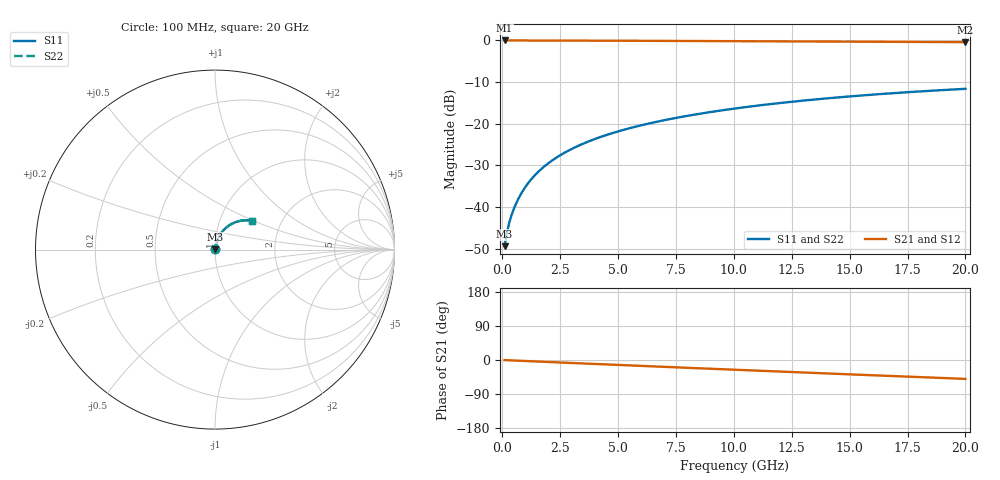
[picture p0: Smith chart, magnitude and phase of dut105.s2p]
! Touchstone file exported from HFSS 2026.1.0
!  File:  C:/ffzhzh/LocalFiles/Ansys_Project_Files/temp_train_BSMRDL_105_1782985764_42984.aedt
!  Generated:  05:50:44 PM Jul  2, 2026
!  Design:  BSMRDL
!  Project:  temp_train_BSMRDL_105_1782985764_42984
! Variables:
!  h_bsmrdl = 4.2um
!  h_ox = 20um
!  h_rdl = 5um
!  h_sub = 80um
!  h_tmrdl = 5um
!  h_tsv = 80um
!  h_via = 3um
!  l_bsmrdl = 830.67um
!  l_sub = 1230.67um
!  l_tmrdl = 200um
!  m_sub = 200um
!  pitch = 44.9um
!  r_tsv = 6um
!  s_tmrdl = 10um
!  w_bsmrdl = 29.9um
!  w_sub = 500um
!  w_tmrdl = 12um
!  x_tsv_center1 = 206um
!  x_tsv_center2 = 1066.57um
!  x_tsv_center3 = 1278.57um
!  x_tsv_center4 = 2139.14um
!  x_tsv_center5 = 2351.14um
!  x_tsv_center6 = 3211.71um
# GHz S MA R 50.000000
! Terminal data exported
! Port[1] = BSM_RDL1_1_T1
! Port[2] = BSM_RDL1_1_T2
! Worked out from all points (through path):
!   200 points, 100 MHz to 20 GHz, reference 50 ohm
!   highest |S21| = -0.02 dB at 100 MHz (marker M1); lowest = -0.4 dB at 20 GHz (marker M2)
!   group delay of S21, straight-line fit = 6.91 ps
!   lowest |S11| = -49.4 dB at 100 MHz (marker M3), VSWR 1.01, Z = 50.3 + j0.209 ohm
!   |S11| at or under -10 dB: start of sweep to end of sweep
!   |S22| runs from -49.4 to -11.6 dB; largest |S21 - S12| = 1.3e-14
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0.1  0.003376 38.0  0.9973 -0.3  0.9973 -0.3  0.003376 38.0
! Gamma 0 0 0 0
! Port Impedance 50 0 50 0
0.2  0.004922 52.5  0.997 -0.6  0.997 -0.6  0.004922 52.5
0.3  0.006459 59.4  0.9968 -0.8  0.9968 -0.8  0.006459 59.4
0.4  0.007974 63.9  0.9966 -1.1  0.9966 -1.1  0.007974 63.9
0.5  0.0095 67.2  0.9965 -1.3  0.9965 -1.3  0.0095 67.2
0.6  0.01105 69.6  0.9964 -1.6  0.9964 -1.6  0.01105 69.6
0.8  0.0142 72.8  0.9962 -2.1  0.9962 -2.1  0.0142 72.8
1.1  0.01901 75.4  0.996 -2.9  0.996 -2.9  0.01901 75.4
1.3  0.02226 76.4  0.9958 -3.4  0.9958 -3.4  0.02226 76.4
1.6  0.02713 77.1  0.9955 -4.2  0.9955 -4.2  0.02713 77.1
2.1  0.03525 77.2  0.995 -5.5  0.995 -5.5  0.03525 77.2
2.7  0.04491 76.6  0.9941 -7.1  0.9941 -7.1  0.04491 76.7
3.5  0.05759 75.3  0.9928 -9.2  0.9928 -9.2  0.05759 75.3
4.2  0.06847 73.8  0.9915 -11.0  0.9915 -11.0  0.06847 73.9
5  0.08066 72.1  0.9899 -13.0  0.9899 -13.0  0.08066 72.1
5.9  0.09407 70.0  0.988 -15.3  0.988 -15.3  0.09406 70.1
6.8  0.1072 68.0  0.9859 -17.6  0.9859 -17.6  0.1072 68.0
8.3  0.1283 64.5  0.9824 -21.4  0.9824 -21.4  0.1283 64.5
10.1  0.1526 60.3  0.978 -25.9  0.978 -25.9  0.1526 60.3
13.4  0.1939 52.6  0.9694 -34.0  0.9694 -34.0  0.1938 52.7
16.7  0.2304 45.0  0.9605 -42.0  0.9605 -42.0  0.2304 45.0
20  0.2618 37.4  0.9518 -49.9  0.9518 -49.9  0.2618 37.5
